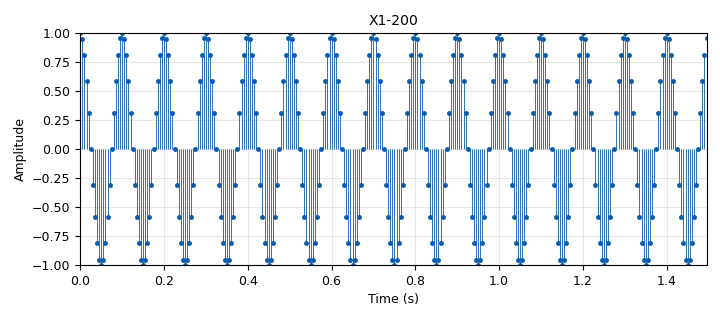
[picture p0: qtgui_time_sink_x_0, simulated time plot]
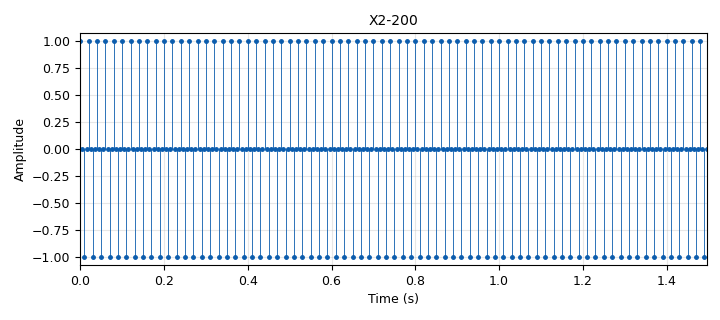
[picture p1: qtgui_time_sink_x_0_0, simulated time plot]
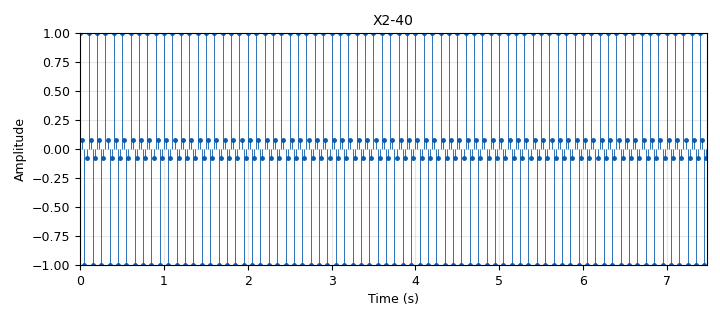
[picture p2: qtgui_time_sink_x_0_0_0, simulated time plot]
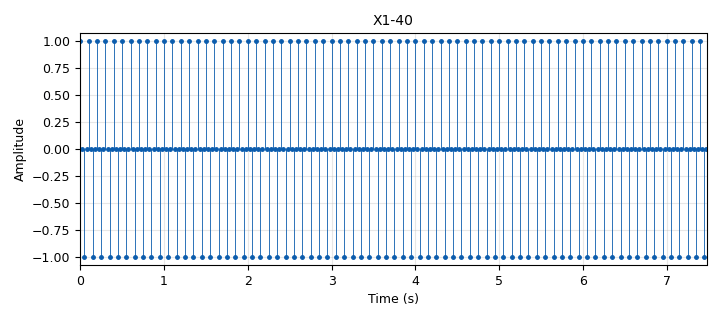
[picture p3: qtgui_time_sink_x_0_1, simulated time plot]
options:
  parameters:
    author: lu
    generate_options: qt_gui
    id: gnu_01
    output_language: python
    title: Not titled yet
  states: {}

blocks:
- name: samp_rate
  id: variable
  parameters:
    value: '32000'
  states: {}
- name: analog_sig_source_x_0
  id: analog_sig_source_x
  parameters:
    amp: '1'
    freq: '10'
    offset: '0'
    phase: '0'
    samp_rate: '200'
    type: float
    waveform: analog.GR_COS_WAVE
  states: {}
- name: analog_sig_source_x_0_0
  id: analog_sig_source_x
  parameters:
    amp: '1'
    freq: '50'
    offset: '0'
    phase: '0'
    samp_rate: '200'
    type: float
    waveform: analog.GR_COS_WAVE
  states: {}
- name: analog_sig_source_x_0_0_0
  id: analog_sig_source_x
  parameters:
    amp: '1'
    freq: '50'
    offset: '0'
    phase: '0'
    samp_rate: '40'
    type: float
    waveform: analog.GR_COS_WAVE
  states: {}
- name: analog_sig_source_x_0_1
  id: analog_sig_source_x
  parameters:
    amp: '1'
    freq: '10'
    offset: '0'
    phase: '0'
    samp_rate: '40'
    type: float
    waveform: analog.GR_COS_WAVE
  states: {}
- name: blocks_throttle2_0
  id: blocks_throttle2
  parameters:
    samples_per_second: '4000'
    type: float
  states: {}
- name: blocks_throttle2_0_0
  id: blocks_throttle2
  parameters:
    samples_per_second: '4000'
    type: float
  states: {}
- name: blocks_throttle2_0_0_0
  id: blocks_throttle2
  parameters:
    samples_per_second: '4000'
    type: float
  states: {}
- name: blocks_throttle2_0_1
  id: blocks_throttle2
  parameters:
    samples_per_second: '4000'
    type: float
  states: {}
- name: qtgui_time_sink_x_0
  id: qtgui_time_sink_x
  parameters:
    name: '"X1-200"'
    size: '300'
    srate: '200'
    stemplot: 'True'
    type: float
  states: {}
- name: qtgui_time_sink_x_0_0
  id: qtgui_time_sink_x
  parameters:
    name: '"X2-200"'
    size: '300'
    srate: '200'
    stemplot: 'True'
    type: float
  states: {}
- name: qtgui_time_sink_x_0_0_0
  id: qtgui_time_sink_x
  parameters:
    name: '"X2-40"'
    size: '300'
    srate: '40'
    stemplot: 'True'
    type: float
  states: {}
- name: qtgui_time_sink_x_0_1
  id: qtgui_time_sink_x
  parameters:
    name: '"X1-40"'
    size: '300'
    srate: '40'
    stemplot: 'True'
    type: float
  states: {}

connections:
- [analog_sig_source_x_0, '0', blocks_throttle2_0, '0']
- [analog_sig_source_x_0_0, '0', blocks_throttle2_0_0, '0']
- [analog_sig_source_x_0_0_0, '0', blocks_throttle2_0_0_0, '0']
- [analog_sig_source_x_0_1, '0', blocks_throttle2_0_1, '0']
- [blocks_throttle2_0, '0', qtgui_time_sink_x_0, '0']
- [blocks_throttle2_0_0, '0', qtgui_time_sink_x_0_0, '0']
- [blocks_throttle2_0_0_0, '0', qtgui_time_sink_x_0_0_0, '0']
- [blocks_throttle2_0_1, '0', qtgui_time_sink_x_0_1, '0']

metadata:
  file_format: 1
  grc_version: 3.10.9.2
